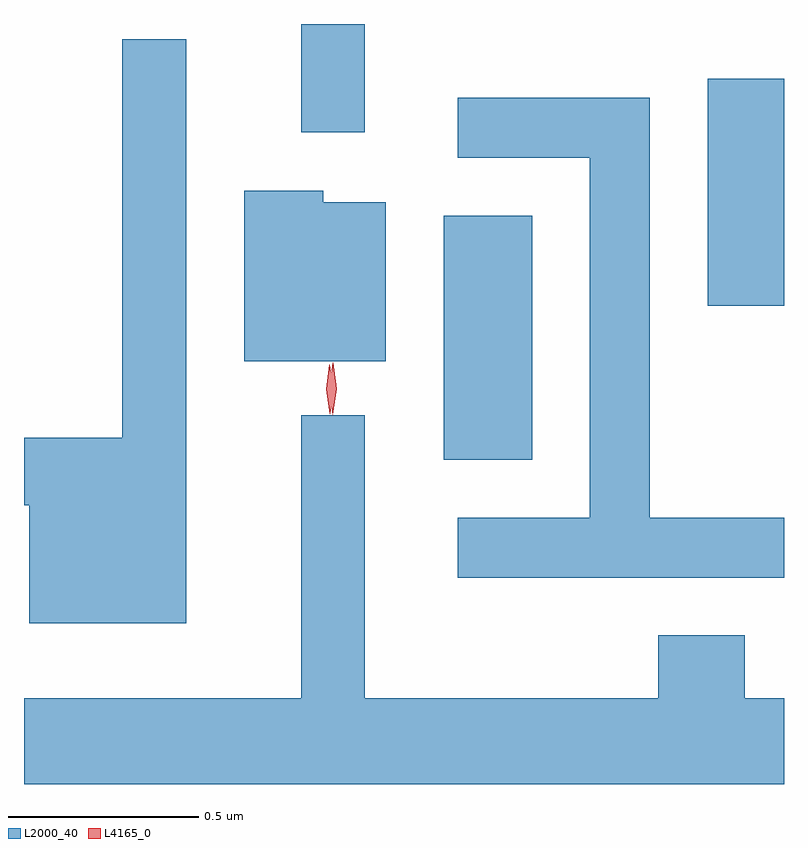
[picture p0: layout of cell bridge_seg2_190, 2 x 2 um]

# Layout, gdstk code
import gdstk
lib = gdstk.Library(unit=1e-6, precision=1e-09)
def R(c, l, rs):  # rectangles x0, y0, x1, y1
    for r in rs: c.add(gdstk.rectangle(r[:2], r[2:], *l))
def P(c, l, *ps):  # polygons
    for p in ps: c.add(gdstk.Polygon(p, *l))
L2000_40 = (2000, 40)
L4165_0 = (4165, 0)

bridge_seg2_190 = lib.new_cell('bridge_seg2_190')
R(bridge_seg2_190, L2000_40, [(742.156,995.931,742.389,996.574), (742.851,996.336,743.052,996.934), (741.781,996.793,741.949,997.078)])
P(bridge_seg2_190, L2000_40, [(741.479,997.038),(741.311,997.038),(741.311,995.989),(741.052,995.989),(741.052,995.811),(741.066,995.811),(741.066,995.501),(741.479,995.501)],
  [(743.052,995.779),(742.699,995.779),(742.699,996.884),(742.193,996.884),(742.193,996.726),(742.541,996.726),(742.541,995.779),(742.193,995.779),(742.193,995.621),(743.052,995.621)],
  [(742.004,996.609),(741.839,996.609),(741.839,996.639),(741.631,996.639),(741.631,996.191),(742.004,996.191)],
  [(743.052,995.304),(742.949,995.304),(742.949,995.469),(742.721,995.469),(742.721,995.304),(741.949,995.304),(741.949,996.048),(741.781,996.048),(741.781,995.304),(741.052,995.304),(741.052,995.078),(743.052,995.078)])
P(bridge_seg2_190, L4165_0, [(741.865,996.049),(741.864,996.05),(741.855,996.118),(741.865,996.186),(741.866,996.186),(741.866,996.186),(741.875,996.118),(741.865,996.05)],
  [(741.858,996.052),(741.857,996.053),(741.847,996.117),(741.855,996.181),(741.855,996.181),(741.856,996.181),(741.866,996.117),(741.858,996.053)])

lib.write_gds('bridge_seg2_190.gds')
